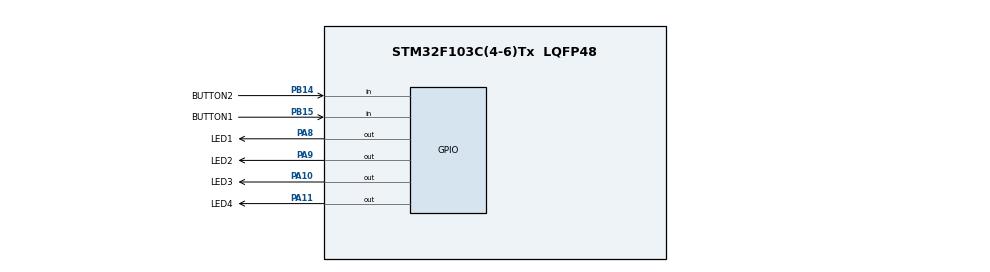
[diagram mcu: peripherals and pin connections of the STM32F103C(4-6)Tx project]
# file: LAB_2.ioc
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Mcu.Family=STM32F1
Mcu.Name=STM32F103C(4-6)Tx
Mcu.Package=LQFP48
NVIC.PriorityGroup=NVIC_PRIORITYGROUP_4
PA10.GPIO_Label=LED3
PA10.Signal=GPIO_Output
PA11.GPIO_Label=LED4
PA11.Signal=GPIO_Output
PA8.GPIO_Label=LED1
PA8.Signal=GPIO_Output
PA9.GPIO_Label=LED2
PA9.Signal=GPIO_Output
PB14.GPIO_Label=BUTTON2
PB14.Signal=GPIO_Input
PB15.GPIO_Label=BUTTON1
PB15.Signal=GPIO_Input
ProjectManager.HeapSize=0x200
ProjectManager.StackSize=0x400
ProjectManager.TargetToolchain=STM32CubeIDE
RCC.APB1Freq_Value=8000000
RCC.APB2Freq_Value=8000000
VP_SYS_VS_ND.Mode=No_Debug
board=custom

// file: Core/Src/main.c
/* USER CODE BEGIN Header */
/**
  ******************************************************************************
  * @file           : main.c
  * @brief          : Main program body
  ******************************************************************************
  * @attention
  *
  * <h2><center>&copy; Copyright (c) 2021 STMicroelectronics.
  * All rights reserved.</center></h2>
  *
  * This software component is licensed by ST under BSD 3-Clause license,
  * the "License"; You may not use this file except in compliance with the
  * License. You may obtain a copy of the License at:
  *                        opensource.org/licenses/BSD-3-Clause
  *
  ******************************************************************************
  */
/* USER CODE END Header */
#include "main.h"
#include "gpio.h"

void SystemClock_Config(void);

int main(void)
{

  /* MCU Configuration--------------------------------------------------------*/

  /* Reset of all peripherals, Initializes the Flash interface and the Systick. */
  HAL_Init();

  /* Configure the system clock */
  SystemClock_Config();

  /* Initialize all configured peripherals */
  MX_GPIO_Init();
  /* USER CODE BEGIN 2 */
  int counter = 0;
  int state = 0;
  int trigger = 0;
  int counter1 = 0;
  int state1 = 0;
  int trigger1 = 0;
  /* USER CODE END 2 */

  /* Infinite loop */
  /* USER CODE BEGIN WHILE */
  while (1)
  {

	if (HAL_GPIO_ReadPin(BUTTON1_GPIO_Port, BUTTON1_Pin) == GPIO_PIN_SET)
	{
		HAL_Delay(10);
		if (HAL_GPIO_ReadPin(BUTTON1_GPIO_Port, BUTTON1_Pin) == GPIO_PIN_SET && state == 0)
		{
			state = 1;
			counter++;
			trigger^=1;
		}
	}
	else if(state == 1)
	{
		state = 0;
	}

	if (HAL_GPIO_ReadPin(BUTTON2_GPIO_Port, BUTTON2_Pin) == GPIO_PIN_SET)
		{
			HAL_Delay(10);
			if (HAL_GPIO_ReadPin(BUTTON2_GPIO_Port, BUTTON2_Pin) == GPIO_PIN_SET && state1 == 0)
			{
				state1 = 1;
				counter1++;
				trigger1^=1;
			}
		}
		else if(state1 == 1)
		{
			state1 = 0;
		}

	if (trigger1 == 1)
		{
			if (counter1 == 1)
			{
				HAL_GPIO_WritePin(LED1_GPIO_Port, LED1_Pin, 0);
				HAL_GPIO_WritePin(LED2_GPIO_Port, LED2_Pin, 1);
				HAL_GPIO_WritePin(LED3_GPIO_Port, LED3_Pin, 1);
				HAL_GPIO_WritePin(LED4_GPIO_Port, LED4_Pin, 1);
			}
			if (counter1 == 2)
			{
				HAL_GPIO_WritePin(LED1_GPIO_Port, LED1_Pin, 0);
				HAL_GPIO_WritePin(LED2_GPIO_Port, LED2_Pin, 0);
				HAL_GPIO_WritePin(LED3_GPIO_Port, LED3_Pin, 1);
				HAL_GPIO_WritePin(LED4_GPIO_Port, LED4_Pin, 1);
			}
			if (counter1 == 3)
			{
				HAL_GPIO_WritePin(LED1_GPIO_Port, LED1_Pin, 0);
				HAL_GPIO_WritePin(LED2_GPIO_Port, LED2_Pin, 0);
				HAL_GPIO_WritePin(LED3_GPIO_Port, LED3_Pin, 0);
				HAL_GPIO_WritePin(LED4_GPIO_Port, LED4_Pin, 1);
			}
			if (counter1 == 4)
			{
				HAL_GPIO_WritePin(LED1_GPIO_Port, LED1_Pin, 0);
				HAL_GPIO_WritePin(LED2_GPIO_Port, LED2_Pin, 0);
				HAL_GPIO_WritePin(LED3_GPIO_Port, LED3_Pin, 0);
				HAL_GPIO_WritePin(LED4_GPIO_Port, LED4_Pin, 0);

			}
			if (counter1 == 5)
			{
				HAL_GPIO_WritePin(LED1_GPIO_Port, LED1_Pin, 1);
				HAL_GPIO_WritePin(LED2_GPIO_Port, LED2_Pin, 1);
				HAL_GPIO_WritePin(LED3_GPIO_Port, LED3_Pin, 1);
				HAL_GPIO_WritePin(LED4_GPIO_Port, LED4_Pin, 1);
				counter1 = 0;
			}
			trigger1 = 0;
		}
	if (trigger == 1)
	{
		if (counter == 1)
		{
			HAL_GPIO_WritePin(LED1_GPIO_Port, LED1_Pin, 0);
			HAL_GPIO_WritePin(LED2_GPIO_Port, LED2_Pin, 1);
			HAL_GPIO_WritePin(LED3_GPIO_Port, LED3_Pin, 1);
			HAL_GPIO_WritePin(LED4_GPIO_Port, LED4_Pin, 1);
		}
		if (counter == 2)
		{
			HAL_GPIO_WritePin(LED1_GPIO_Port, LED1_Pin, 1);
			HAL_GPIO_WritePin(LED2_GPIO_Port, LED2_Pin, 0);
			HAL_GPIO_WritePin(LED3_GPIO_Port, LED3_Pin, 1);
			HAL_GPIO_WritePin(LED4_GPIO_Port, LED4_Pin, 1);
		}
		if (counter == 3)
		{
			HAL_GPIO_WritePin(LED1_GPIO_Port, LED1_Pin, 1);
			HAL_GPIO_WritePin(LED2_GPIO_Port, LED2_Pin, 1);
			HAL_GPIO_WritePin(LED3_GPIO_Port, LED3_Pin, 0);
			HAL_GPIO_WritePin(LED4_GPIO_Port, LED4_Pin, 1);
		}
		if (counter == 4)
		{
			HAL_GPIO_WritePin(LED1_GPIO_Port, LED1_Pin, 1);
			HAL_GPIO_WritePin(LED2_GPIO_Port, LED2_Pin, 1);
			HAL_GPIO_WritePin(LED3_GPIO_Port, LED3_Pin, 1);
			HAL_GPIO_WritePin(LED4_GPIO_Port, LED4_Pin, 0);
			counter = 0;
		}
		trigger = 0;
	}
    /* USER CODE END WHILE */

  }
}

void SystemClock_Config(void)
{
  RCC_OscInitTypeDef RCC_OscInitStruct = {0};
  RCC_ClkInitTypeDef RCC_ClkInitStruct = {0};

  /** Initializes the RCC Oscillators according to the specified parameters
  * in the RCC_OscInitTypeDef structure.
  */
  RCC_OscInitStruct.OscillatorType = RCC_OSCILLATORTYPE_HSI;
  RCC_OscInitStruct.HSIState = RCC_HSI_ON;
  RCC_OscInitStruct.HSICalibrationValue = RCC_HSICALIBRATION_DEFAULT;
  RCC_OscInitStruct.PLL.PLLState = RCC_PLL_NONE;
  if (HAL_RCC_OscConfig(&RCC_OscInitStruct) != HAL_OK)
  {
    Error_Handler();
  }
  /** Initializes the CPU, AHB and APB buses clocks
  */
  RCC_ClkInitStruct.ClockType = RCC_CLOCKTYPE_HCLK|RCC_CLOCKTYPE_SYSCLK
                              |RCC_CLOCKTYPE_PCLK1|RCC_CLOCKTYPE_PCLK2;
  RCC_ClkInitStruct.SYSCLKSource = RCC_SYSCLKSOURCE_HSI;
  RCC_ClkInitStruct.AHBCLKDivider = RCC_SYSCLK_DIV1;
  RCC_ClkInitStruct.APB1CLKDivider = RCC_HCLK_DIV1;
  RCC_ClkInitStruct.APB2CLKDivider = RCC_HCLK_DIV1;

  if (HAL_RCC_ClockConfig(&RCC_ClkInitStruct, FLASH_LATENCY_0) != HAL_OK)
  {
    Error_Handler();
  }
}

void Error_Handler(void)
{
  __disable_irq();
  while (1)
  {
  }
}

/************************ (C) COPYRIGHT STMicroelectronics *****END OF FILE****/
